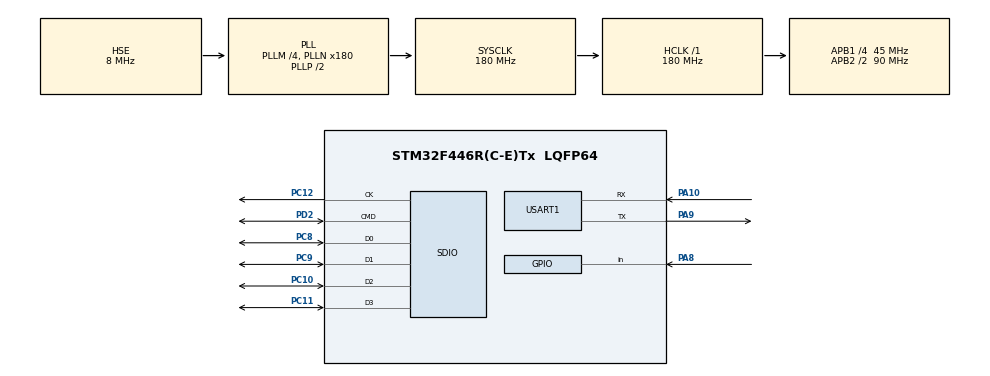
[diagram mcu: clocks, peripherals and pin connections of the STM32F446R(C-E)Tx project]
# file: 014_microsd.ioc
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Dma.Request0=SDIO
Dma.SDIO.0.Direction=DMA_PERIPH_TO_MEMORY
Dma.SDIO.0.FIFOMode=DMA_FIFOMODE_ENABLE
Dma.SDIO.0.FIFOThreshold=DMA_FIFO_THRESHOLD_FULL
Dma.SDIO.0.Instance=DMA2_Stream3
Dma.SDIO.0.MemBurst=DMA_MBURST_INC4
Dma.SDIO.0.MemDataAlignment=DMA_MDATAALIGN_WORD
Dma.SDIO.0.MemInc=DMA_MINC_ENABLE
Dma.SDIO.0.Mode=DMA_PFCTRL
Dma.SDIO.0.PeriphBurst=DMA_PBURST_INC4
Dma.SDIO.0.PeriphDataAlignment=DMA_PDATAALIGN_WORD
Dma.SDIO.0.PeriphInc=DMA_PINC_DISABLE
Dma.SDIO.0.Priority=DMA_PRIORITY_LOW
FATFS.BSP.number=1
FATFS.USE_DMA_CODE_SD=1
FATFS._MAX_SS=4096
FATFS._USE_LFN=1
FATFS0.BSP.STBoard=false
FATFS0.BSP.api=Unknown
FATFS0.BSP.instance=PA8
FATFS0.BSP.ip=GPIO
FATFS0.BSP.mode=Input
FATFS0.BSP.name=Detect_SDIO
FATFS0.BSP.solution=PA8
Mcu.Family=STM32F4
Mcu.Name=STM32F446R(C-E)Tx
Mcu.Package=LQFP64
NVIC.DMA2_Stream3_IRQn=true\:0\:0\:false\:false\:true\:false\:true\:true
NVIC.PriorityGroup=NVIC_PRIORITYGROUP_4
NVIC.SDIO_IRQn=true\:0\:0\:false\:false\:true\:true\:true\:true
NVIC.USART1_IRQn=true\:0\:0\:false\:false\:true\:true\:true\:true
PA10.Mode=Asynchronous
PA10.Signal=USART1_RX
PA8.Signal=GPIO_Input
PA9.Mode=Asynchronous
PA9.Signal=USART1_TX
PC10.GPIO_PuPd=GPIO_NOPULL
PC10.Mode=SD_4_bits_Wide_bus
PC10.Signal=SDIO_D2
PC11.Mode=SD_4_bits_Wide_bus
PC11.Signal=SDIO_D3
PC12.Mode=SD_4_bits_Wide_bus
PC12.Signal=SDIO_CK
PC8.GPIO_PuPd=GPIO_NOPULL
PC8.Mode=SD_4_bits_Wide_bus
PC8.Signal=SDIO_D0
PC9.GPIO_PuPd=GPIO_NOPULL
PC9.Mode=SD_4_bits_Wide_bus
PC9.Signal=SDIO_D1
PD2.GPIO_PuPd=GPIO_NOPULL
PD2.Mode=SD_4_bits_Wide_bus
PD2.Signal=SDIO_CMD
PH0-OSC_IN.Mode=HSE-External-Oscillator
PH0-OSC_IN.Signal=RCC_OSC_IN
PH1-OSC_OUT.Mode=HSE-External-Oscillator
PH1-OSC_OUT.Signal=RCC_OSC_OUT
ProjectManager.HeapSize=0x200
ProjectManager.StackSize=0x400
ProjectManager.TargetToolchain=STM32CubeIDE
RCC.AHBFreq_Value=180000000
RCC.APB1CLKDivider=RCC_HCLK_DIV4
RCC.APB1Freq_Value=45000000
RCC.APB1TimFreq_Value=90000000
RCC.APB2CLKDivider=RCC_HCLK_DIV2
RCC.APB2Freq_Value=90000000
RCC.APB2TimFreq_Value=180000000
RCC.CortexFreq_Value=180000000
RCC.HCLKFreq_Value=180000000
RCC.HSE_VALUE=8000000
RCC.PLLM=4
RCC.PLLN=180
RCC.PLLQ=10
RCC.PLLSourceVirtual=RCC_PLLSOURCE_HSE
RCC.SYSCLKFreq_VALUE=180000000
RCC.SYSCLKSource=RCC_SYSCLKSOURCE_PLLCLK
RCC.USBFreq_Value=36000000
RCC.VCOOutputFreq_Value=360000000
SDIO.HardwareFlowControl=SDIO_HARDWARE_FLOW_CONTROL_ENABLE
USART1.VirtualMode=VM_ASYNC
VP_FATFS_VS_SDIO.Mode=SDIO
board=custom

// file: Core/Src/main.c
/* USER CODE BEGIN Header */
/**
  ******************************************************************************
  * @file           : main.c
  * @brief          : Main program body
  ******************************************************************************
  * @attention
  *
  * Copyright (c) 2025 STMicroelectronics.
  * All rights reserved.
  *
  * This software is licensed under terms that can be found in the LICENSE file
  * in the root directory of this software component.
  * If no LICENSE file comes with this software, it is provided AS-IS.
  *
  ******************************************************************************
  */
/* USER CODE END Header */
#include "main.h"
#include "fatfs.h"

/* USER CODE BEGIN Includes */
#include "sd_functions.h"
#include "stdio.h"
#include "sd_benchmark.h"
#include <string.h>
/* USER CODE END Includes */

SD_HandleTypeDef hsd;
DMA_HandleTypeDef hdma_sdio;

UART_HandleTypeDef huart1;

/* USER CODE BEGIN PV */
char readBuf[1];
uint8_t txData;
__IO ITStatus UartReady = SET;
RingBuffer txBuf, rxBuf;

/* USER CODE END PV */

void SystemClock_Config(void);
static void MX_GPIO_Init(void);
static void MX_DMA_Init(void);
static void MX_SDIO_SD_Init(void);
static void MX_USART1_UART_Init(void);

/* USER CODE BEGIN 0 */
// printf redirection to custom UART function
int __io_putchar(int ch)
{
    uint8_t c = (uint8_t)ch;
    UART_Transmit(&huart1, &c, 1);
    return ch;
}

void uart_printf(const char *format, ...)
{
    char buffer[256];
    va_list args;
    va_start(args, format);
    int len = vsnprintf(buffer, sizeof(buffer), format, args);
    va_end(args);

    if (len > 0 && len < sizeof(buffer)) {
        UART_Transmit(&huart1, (uint8_t*)buffer, len);
    }
}

void sd_hardware_test(void) {
	printf("=== SD Hardware Test ===\r\n");

	// Test 1: Check if SDIO peripheral is enabled
	if (__HAL_RCC_SDIO_IS_CLK_ENABLED()) {
		printf("✅ SDIO clock enabled\r\n");
	} else {
		printf("❌ SDIO clock NOT enabled\r\n");
	}

	// Test 2: Check GPIO configuration
	printf("Checking GPIO pins:\r\n");
	printf("PC8 (D0) mode: 0x%lx\r\n", (GPIOC->MODER >> 16) & 0x3);
	printf("PC12 (CLK) mode: 0x%lx\r\n", (GPIOC->MODER >> 24) & 0x3);
	printf("PD2 (CMD) mode: 0x%lx\r\n", (GPIOD->MODER >> 4) & 0x3);

	// Check alternate function settings
	printf("PC8 AFR: 0x%lx\r\n", (GPIOC->AFR[1] >> 0) & 0xF);
	printf("PC12 AFR: 0x%lx\r\n", (GPIOC->AFR[1] >> 16) & 0xF);
	printf("PD2 AFR: 0x%lx\r\n", (GPIOD->AFR[0] >> 8) & 0xF);

	// Test 3: Check SDIO peripheral directly instead of BSP
	printf("Testing SDIO peripheral directly...\r\n");

	// Check if SDIO is responding
	if (hsd.Instance == SDIO) {
		printf("✅ SDIO instance configured\r\n");
		printf("SDIO POWER: 0x%lx\r\n", SDIO->POWER);
		printf("SDIO CLKCR: 0x%lx\r\n", SDIO->CLKCR);
	} else {
		printf("❌ SDIO instance not configured\r\n");
		return;
	}

	// Test 4: Try HAL SD card detection
	printf("Checking SD card state...\r\n");
	HAL_SD_CardStateTypeDef cardState = HAL_SD_GetCardState(&hsd);
	printf("Card State: %ld ", cardState);

	switch(cardState) {
		case HAL_SD_CARD_READY:
			printf("(Ready)\r\n");
			break;
		case HAL_SD_CARD_IDENTIFICATION:
			printf("(Identification)\r\n");
			break;
		case HAL_SD_CARD_STANDBY:
			printf("(Standby)\r\n");
			break;
		case HAL_SD_CARD_TRANSFER:
			printf("(Transfer)\r\n");
			break;
		case HAL_SD_CARD_SENDING:
			printf("(Sending)\r\n");
			break;
		case HAL_SD_CARD_RECEIVING:
			printf("(Receiving)\r\n");
			break;
		case HAL_SD_CARD_PROGRAMMING:
			printf("(Programming)\r\n");
			break;
		case HAL_SD_CARD_DISCONNECTED:
			printf("(Disconnected)\r\n");
			break;
		case HAL_SD_CARD_ERROR:
			printf("(Error)\r\n");
			break;
	}

	// Test 5: Get card info using HAL
	HAL_SD_CardInfoTypeDef cardInfo;
	if (HAL_SD_GetCardInfo(&hsd, &cardInfo) == HAL_OK) {
		printf("✅ Card info retrieved successfully\r\n");
		printf("Card Type: %lu\r\n", cardInfo.CardType);
		printf("Card Version: %lu\r\n", cardInfo.CardVersion);
		printf("Block Size: %lu\r\n", cardInfo.BlockSize);
		printf("Block Count: %lu\r\n", cardInfo.BlockNbr);
		printf("Capacity: %lu MB\r\n", (cardInfo.BlockNbr * cardInfo.BlockSize) / (1024*1024));
	} else {
		printf("❌ Failed to get card info\r\n");
		printf("Possible issues:\r\n");
		printf("- SD card not inserted or defective\r\n");
		printf("- Wiring issues\r\n");
		printf("- Clock configuration problems\r\n");
		printf("- Power supply issues\r\n");
	}

	// Test 6: Try to read a sector using HAL
	printf("Attempting to read sector 0 using HAL...\r\n");
	uint8_t testBuffer[512];

	if (HAL_SD_ReadBlocks(&hsd, testBuffer, 0, 1, 5000) == HAL_OK) {
		printf("✅ Successfully read sector 0\r\n");
		printf("First 16 bytes: ");
		for (int i = 0; i < 16; i++) {
			printf("%02X ", testBuffer[i]);
		}
		printf("\r\n");

		// Check for MBR signature
		if (testBuffer[510] == 0x55 && testBuffer[511] == 0xAA) {
			printf("✅ Valid MBR signature found\r\n");
		} else {
			printf("⚠️  No MBR signature (might be superfloppy format)\r\n");
		}
	} else {
		printf("❌ Failed to read sector 0\r\n");

		// Get the last error
		uint32_t errorState = HAL_SD_GetError(&hsd);
		printf("SD Error: 0x%lX\r\n", errorState);

		if (errorState & HAL_SD_ERROR_CMD_RSP_TIMEOUT) printf("- Command response timeout\r\n");
		if (errorState & HAL_SD_ERROR_DATA_TIMEOUT) printf("- Data timeout\r\n");
		if (errorState & HAL_SD_ERROR_CMD_CRC_FAIL) printf("- Command CRC failed\r\n");
		if (errorState & HAL_SD_ERROR_DATA_CRC_FAIL) printf("- Data CRC failed\r\n");
		if (errorState & HAL_SD_ERROR_UNSUPPORTED_FEATURE) printf("- Unsupported feature\r\n");
	}

	printf("=== End Hardware Test ===\r\n\r\n");
}

uint8_t bufr[100];
UINT br;
/* USER CODE END 0 */

int main(void)
{

  /* MCU Configuration--------------------------------------------------------*/

  /* Reset of all peripherals, Initializes the Flash interface and the Systick. */
  HAL_Init();

  /* Configure the system clock */
  SystemClock_Config();

  /* Initialize all configured peripherals */
  MX_GPIO_Init();
  MX_DMA_Init();
  MX_SDIO_SD_Init();
  MX_USART1_UART_Init();
  MX_FATFS_Init();
  /* USER CODE BEGIN 2 */
  RingBuffer_Init(&txBuf);
  RingBuffer_Init(&rxBuf);

  HAL_Delay(1000);

  printf("Initializing SD peripheral...\r\n");
  if (HAL_SD_Init(&hsd) != HAL_OK) {
      printf("❌ HAL_SD_Init failed!\r\n");
      Error_Handler();
  } else {
      printf("✅ HAL_SD_Init successful\r\n");
  }

  // Now test hardware after proper initialization
  sd_hardware_test();

  HAL_Delay(5000);

  // Now try mounting with enhanced debugging
  if (sd_mount() == FR_OK) {
	  sd_get_space_kb();
	  HAL_Delay(10);
	  sd_list_files_limited();
	  sd_unmount();
  } else {
	  printf("Mount failed - skipping file operations\r\n");
  }

  HAL_Delay(1000);
  sd_mount();
  sd_read_file("WeAct Studio.txt", (char*)bufr, 100, &br);
  printf("DATA: %s\r\n", bufr);
  sd_unmount();

//    sd_mount();
//    sd_write_file("FILE8.TXT", "This is File 8 and it is in the root of the SD Card\n");
//    sd_read_file("FILE8.txt", (char*)bufr, 100, &br);
//    printf("DATA: %s\n\n", bufr);
//    sd_unmount();

//    sd_mount();
//    sd_append_file("FILE8.TXT", "THis is appended text to file8\n");
//    sd_read_file("FILE8.txt", (char*) bufr, 100, &br);
//    printf("DATA: %s\n\n", bufr);
//    sd_unmount();

  #define max_records 20
    CsvRecord myrecords[max_records];
    int record_count = 0;
    sd_mount();
    sd_read_csv("file4.csv", myrecords, max_records, &record_count);
    sd_unmount();

//    sd_benchmark();
  /* USER CODE END 2 */

  /* Infinite loop */
  while (1)
  {

  }
}

void SystemClock_Config(void)
{
  RCC_OscInitTypeDef RCC_OscInitStruct = {0};
  RCC_ClkInitTypeDef RCC_ClkInitStruct = {0};

  /** Configure the main internal regulator output voltage
  */
  __HAL_RCC_PWR_CLK_ENABLE();
  __HAL_PWR_VOLTAGESCALING_CONFIG(PWR_REGULATOR_VOLTAGE_SCALE1);

  /** Initializes the RCC Oscillators according to the specified parameters
  * in the RCC_OscInitTypeDef structure.
  */
  RCC_OscInitStruct.OscillatorType = RCC_OSCILLATORTYPE_HSE;
  RCC_OscInitStruct.HSEState = RCC_HSE_ON;
  RCC_OscInitStruct.PLL.PLLState = RCC_PLL_ON;
  RCC_OscInitStruct.PLL.PLLSource = RCC_PLLSOURCE_HSE;
  RCC_OscInitStruct.PLL.PLLM = 4;
  RCC_OscInitStruct.PLL.PLLN = 180;
  RCC_OscInitStruct.PLL.PLLP = RCC_PLLP_DIV2;
  RCC_OscInitStruct.PLL.PLLQ = 10;
  RCC_OscInitStruct.PLL.PLLR = 2;
  if (HAL_RCC_OscConfig(&RCC_OscInitStruct) != HAL_OK)
  {
    Error_Handler();
  }

  /** Activate the Over-Drive mode
  */
  if (HAL_PWREx_EnableOverDrive() != HAL_OK)
  {
    Error_Handler();
  }

  /** Initializes the CPU, AHB and APB buses clocks
  */
  RCC_ClkInitStruct.ClockType = RCC_CLOCKTYPE_HCLK|RCC_CLOCKTYPE_SYSCLK
                              |RCC_CLOCKTYPE_PCLK1|RCC_CLOCKTYPE_PCLK2;
  RCC_ClkInitStruct.SYSCLKSource = RCC_SYSCLKSOURCE_PLLCLK;
  RCC_ClkInitStruct.AHBCLKDivider = RCC_SYSCLK_DIV1;
  RCC_ClkInitStruct.APB1CLKDivider = RCC_HCLK_DIV4;
  RCC_ClkInitStruct.APB2CLKDivider = RCC_HCLK_DIV2;

  if (HAL_RCC_ClockConfig(&RCC_ClkInitStruct, FLASH_LATENCY_5) != HAL_OK)
  {
    Error_Handler();
  }
}

static void MX_SDIO_SD_Init(void)
{

  hsd.Instance = SDIO;
  hsd.Init.ClockEdge = SDIO_CLOCK_EDGE_RISING;
  hsd.Init.ClockBypass = SDIO_CLOCK_BYPASS_DISABLE;
  hsd.Init.ClockPowerSave = SDIO_CLOCK_POWER_SAVE_DISABLE;
  hsd.Init.BusWide = SDIO_BUS_WIDE_4B;
  hsd.Init.HardwareFlowControl = SDIO_HARDWARE_FLOW_CONTROL_ENABLE;
  hsd.Init.ClockDiv = 0;
  /* USER CODE BEGIN SDIO_Init 2 */
//  hsd.Init.BusWide = SDIO_BUS_WIDE_1B;
  /* USER CODE END SDIO_Init 2 */

}

static void MX_USART1_UART_Init(void)
{

  huart1.Instance = USART1;
  huart1.Init.BaudRate = 115200;
  huart1.Init.WordLength = UART_WORDLENGTH_8B;
  huart1.Init.StopBits = UART_STOPBITS_1;
  huart1.Init.Parity = UART_PARITY_NONE;
  huart1.Init.Mode = UART_MODE_TX_RX;
  huart1.Init.HwFlowCtl = UART_HWCONTROL_NONE;
  huart1.Init.OverSampling = UART_OVERSAMPLING_16;
  if (HAL_UART_Init(&huart1) != HAL_OK)
  {
    Error_Handler();
  }

}

static void MX_DMA_Init(void)
{

  /* DMA controller clock enable */
  __HAL_RCC_DMA2_CLK_ENABLE();

  /* DMA interrupt init */
  /* DMA2_Stream3_IRQn interrupt configuration */
  HAL_NVIC_SetPriority(DMA2_Stream3_IRQn, 0, 0);
  HAL_NVIC_EnableIRQ(DMA2_Stream3_IRQn);

}

static void MX_GPIO_Init(void)
{
  GPIO_InitTypeDef GPIO_InitStruct = {0};

  /* GPIO Ports Clock Enable */
  __HAL_RCC_GPIOH_CLK_ENABLE();
  __HAL_RCC_GPIOC_CLK_ENABLE();
  __HAL_RCC_GPIOA_CLK_ENABLE();
  __HAL_RCC_GPIOD_CLK_ENABLE();

  /*Configure GPIO pin : PA8 */
  GPIO_InitStruct.Pin = GPIO_PIN_8;
  GPIO_InitStruct.Mode = GPIO_MODE_INPUT;
  GPIO_InitStruct.Pull = GPIO_NOPULL;
  HAL_GPIO_Init(GPIOA, &GPIO_InitStruct);

}

/* USER CODE BEGIN 4 */
uint8_t UART_Transmit(UART_HandleTypeDef *huart, uint8_t *pData, uint16_t len)
{
    if(huart->gState == HAL_UART_STATE_READY) {
        if(HAL_UART_Transmit_IT(huart, pData, len) == HAL_OK) {
            return 0;
        }
    }

    return (RingBuffer_Write(&txBuf, pData, len) == RING_BUFFER_OK) ? 0 : 1;
}

void HAL_UART_RxCpltCallback(UART_HandleTypeDef *UartHandle)
{
 /* Set transmission flag: transfer complete*/
 UartReady = SET;
}

void HAL_UART_TxCpltCallback(UART_HandleTypeDef *huart)
{
  if(RingBuffer_GetDataLength(&txBuf) > 0)
  {
    RingBuffer_Read(&txBuf, &txData, 1);
    HAL_UART_Transmit_IT(huart, &txData, 1);
  }
}
/* USER CODE END 4 */

void Error_Handler(void)
{
  __disable_irq();
  while (1)
  {
  }
}
